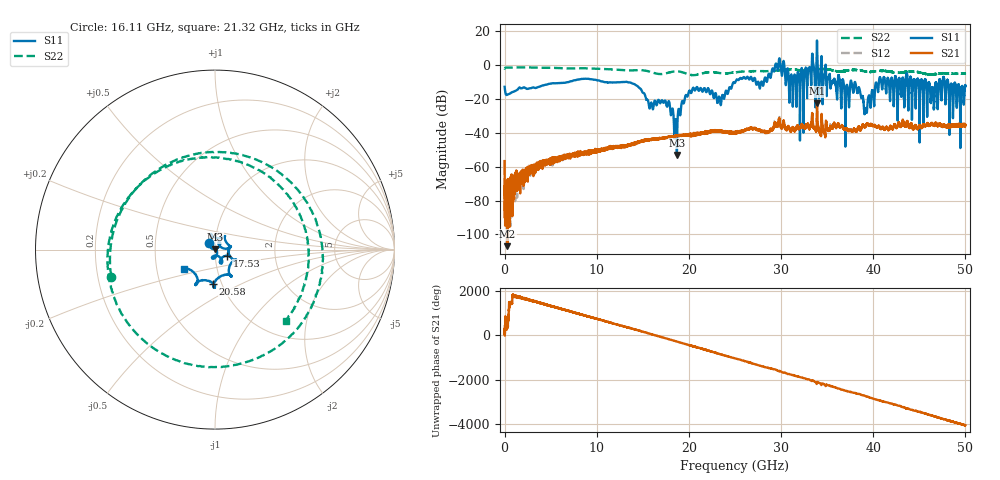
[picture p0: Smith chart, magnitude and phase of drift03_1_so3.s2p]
!Created with skrf (http://scikit-rf.org).
# Hz S RI R 50.0
!freq ReS11 ImS11 ReS21 ImS21 ReS12 ImS12 ReS22 ImS22
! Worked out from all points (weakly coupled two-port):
!   10001 points, 300 kHz to 50 GHz, reference 50 ohm
!   highest |S21| = -22.62 dB at 33.9 GHz (marker M1); lowest = -106.9 dB at 300.3 MHz (marker M2)
!   lowest |S11| = -53.0 dB at 18.7 GHz (marker M3), VSWR 1.00, Z = 50 + j0.221 ohm
!   |S11| at or under -10 dB: start of sweep to 6.961 GHz; 13.3 GHz to 25.05 GHz (11.74 GHz wide, 61.2 % of centre); 38.03 GHz to 40.62 GHz (2.589 GHz wide, 6.58 % of centre) (the widest 3 of 57)
!   |S22| runs from -6.0 to -1.3 dB; largest |S21 - S12| = 0.0072
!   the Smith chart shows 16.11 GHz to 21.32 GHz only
!   S11 on the Smith chart (normalised r, x): 16.11 GHz: 0.93, +0.07; 17.53 GHz: 1.14, -0.08; 20.58 GHz: 0.91, -0.36; 21.32 GHz: 0.69, -0.15
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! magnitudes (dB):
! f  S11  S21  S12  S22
! 300 kHz  -12.8  -56.7  -59.3  -2.0
! 300.3 MHz  -17.5  -106.9  -68.1  -1.4
! 8.335 GHz  -8.2  -51.9  -51.9  -1.9
! 13.82 GHz  -10.8  -46.6  -46.7  -3.1
! 16.11 GHz  -25.9  -44.0  -43.7  -4.5
! 16.67 GHz  -20.6  -43.1  -43.5  -5.2
! 17.53 GHz  -22.5  -42.8  -42.8  -4.8
! 18.7 GHz  -53.0  -41.6  -41.8  -3.7
! 20.58 GHz  -14.4  -40.8  -41.1  -5.9
! 21.32 GHz  -13.9  -40.7  -40.9  -5.1
! 23.3 GHz  -18.8  -39.4  -38.9  -4.7
! 25 GHz  -10.5  -39.4  -39.8  -4.3
! 27.87 GHz  -9.7  -39.1  -39.2  -3.6
! 29.68 GHz  -2.9  -35.5  -35.1  -3.1
! 31.86 GHz  -4.1  -36.7  -37.3  -2.9
! 33.34 GHz  0.1  -32.3  -32.8  -2.9
! 33.9 GHz  14.2  -22.6  -23.0  -2.4
! 38.21 GHz  -14.6  -38.8  -39.0  -2.9
! 39.17 GHz  -26.2  -36.4  -35.8  -3.8
! 40.53 GHz  -15.8  -36.2  -36.3  -3.5
! 41.67 GHz  -9.2  -38.2  -38.0  -3.6
! 50 GHz  -11.9  -35.4  -35.5  -5.0
